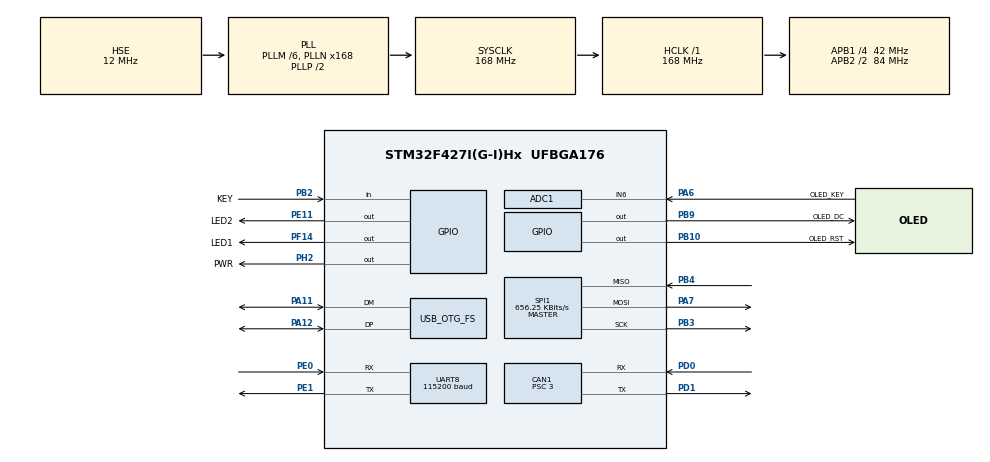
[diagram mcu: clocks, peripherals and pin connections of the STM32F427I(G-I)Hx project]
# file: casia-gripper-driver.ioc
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ADC1.Channel-0\#ChannelRegularConversion=ADC_CHANNEL_6
ADC1.ContinuousConvMode=ENABLE
ADC1.DMAContinuousRequests=ENABLE
ADC1.NbrOfConversionFlag=1
ADC1.Rank-0\#ChannelRegularConversion=1
ADC1.SamplingTime-0\#ChannelRegularConversion=ADC_SAMPLETIME_3CYCLES
ADC1.ScanConvMode=ENABLE
ADC1.master=1
CAN1.ABOM=ENABLE
CAN1.BS1=CAN_BS1_9TQ
CAN1.BS2=CAN_BS2_4TQ
CAN1.CalculateTimeBit=1000
CAN1.CalculateTimeQuantum=71.42857142857143
CAN1.Prescaler=3
CAN1.SJW=CAN_SJW_1TQ
Dma.ADC1.0.Direction=DMA_PERIPH_TO_MEMORY
Dma.ADC1.0.FIFOMode=DMA_FIFOMODE_DISABLE
Dma.ADC1.0.Instance=DMA2_Stream0
Dma.ADC1.0.MemDataAlignment=DMA_MDATAALIGN_HALFWORD
Dma.ADC1.0.MemInc=DMA_MINC_ENABLE
Dma.ADC1.0.Mode=DMA_CIRCULAR
Dma.ADC1.0.PeriphDataAlignment=DMA_PDATAALIGN_HALFWORD
Dma.ADC1.0.PeriphInc=DMA_PINC_DISABLE
Dma.ADC1.0.Priority=DMA_PRIORITY_LOW
Dma.Request0=ADC1
Mcu.Family=STM32F4
Mcu.Name=STM32F427I(G-I)Hx
Mcu.Package=UFBGA176
NVIC.CAN1_RX0_IRQn=true\:0\:0\:false\:false\:true\:true\:true
NVIC.CAN1_TX_IRQn=true\:0\:0\:false\:false\:true\:true\:true
NVIC.DMA2_Stream0_IRQn=true\:0\:0\:false\:false\:true\:false\:true
NVIC.OTG_FS_IRQn=true\:0\:0\:false\:false\:true\:false\:true
NVIC.PriorityGroup=NVIC_PRIORITYGROUP_4
NVIC.TIM1_UP_TIM10_IRQn=true\:0\:0\:true\:false\:true\:true\:true
NVIC.TIM6_DAC_IRQn=true\:0\:0\:false\:false\:true\:true\:true
NVIC.TimeBase=TIM6_DAC_IRQn
NVIC.TimeBaseIP=TIM6
NVIC.UART8_IRQn=true\:0\:0\:true\:false\:true\:true\:true
PA11.GPIO_PuPd=GPIO_PULLUP
PA11.Mode=Device_Only
PA11.Signal=USB_OTG_FS_DM
PA12.GPIO_PuPd=GPIO_PULLUP
PA12.Mode=Device_Only
PA12.Signal=USB_OTG_FS_DP
PA13.Mode=Serial_Wire
PA13.Signal=SYS_JTMS-SWDIO
PA14.Mode=Serial_Wire
PA14.Signal=SYS_JTCK-SWCLK
PA6.GPIO_Label=OLED_KEY
PA6.Signal=ADCx_IN6
PA7.Mode=Full_Duplex_Master
PA7.Signal=SPI1_MOSI
PB10.GPIO_Label=OLED_RST
PB10.Signal=GPIO_Output
PB2/BOOT1.GPIO_Label=KEY
PB2/BOOT1.GPIO_PuPd=GPIO_NOPULL
PB2/BOOT1.Signal=GPIO_Input
PB3.Mode=Full_Duplex_Master
PB3.Signal=SPI1_SCK
PB4.Mode=Full_Duplex_Master
PB4.Signal=SPI1_MISO
PB9.GPIO_Label=OLED_DC
PB9.Signal=GPIO_Output
PD0.Mode=Master
PD0.Signal=CAN1_RX
PD1.Mode=Master
PD1.Signal=CAN1_TX
PE0.Mode=Asynchronous
PE0.Signal=UART8_RX
PE1.Mode=Asynchronous
PE1.Signal=UART8_TX
PE11.GPIO_Label=LED2
PE11.Signal=GPIO_Output
PE7.GPIO_Label=UART7_RX
PE7.Signal=UART7_RX
PE8.GPIO_Label=UART7_TX
PE8.Signal=UART7_TX
PF14.GPIO_Label=LED1
PF14.Signal=GPIO_Output
PH0/OSC_IN.Mode=HSE-External-Oscillator
PH0/OSC_IN.Signal=RCC_OSC_IN
PH1/OSC_OUT.Mode=HSE-External-Oscillator
PH1/OSC_OUT.Signal=RCC_OSC_OUT
PH2.GPIO_Label=PWR
PH2.Signal=GPIO_Output
ProjectManager.HeapSize=0x600
ProjectManager.StackSize=0x400
ProjectManager.TargetToolchain=STM32CubeIDE
RCC.48MHZClocksFreq_Value=48000000
RCC.AHBFreq_Value=168000000
RCC.APB1CLKDivider=RCC_HCLK_DIV4
RCC.APB1Freq_Value=42000000
RCC.APB1TimFreq_Value=84000000
RCC.APB2CLKDivider=RCC_HCLK_DIV2
RCC.APB2Freq_Value=84000000
RCC.APB2TimCLKDivider=2
RCC.APB2TimFreq_Value=168000000
RCC.CortexFreq_Value=168000000
RCC.HCLKFreq_Value=168000000
RCC.HSE_VALUE=12000000
RCC.HSI_VALUE=16000000
RCC.LSE_VALUE=32768
RCC.PLLM=6
RCC.PLLN=168
RCC.PLLQ=7
RCC.SYSCLKFreq_VALUE=168000000
RCC.SYSCLKSource=RCC_SYSCLKSOURCE_PLLCLK
RCC.VCOOutputFreq_Value=336000000
SH.ADCx_IN6.0=ADC1_IN6,IN6
SPI1.BaudRatePrescaler=SPI_BAUDRATEPRESCALER_128
SPI1.CalculateBaudRate=656.25 KBits/s
SPI1.Direction=SPI_DIRECTION_2LINES
SPI1.Mode=SPI_MODE_MASTER
SPI1.VirtualType=VM_MASTER
TIM10.Period=999
TIM10.Prescaler=8400-1
UART8.BaudRate=115200
UART8.OverSampling=UART_OVERSAMPLING_8
UART8.Parity=PARITY_NONE
UART8.VirtualMode=Asynchronous
USB_DEVICE.CLASS_NAME_FS=CDC
USB_DEVICE.VirtualMode-CDC_FS=Cdc
USB_DEVICE.VirtualModeFS=Cdc_FS
USB_OTG_FS.VirtualMode=Device_Only
VP_SYS_VS_tim6.Mode=TIM6
VP_TIM10_VS_ClockSourceINT.Mode=Enable_Timer
VP_USB_DEVICE_VS_USB_DEVICE_CDC_FS.Mode=CDC_FS
board=demo

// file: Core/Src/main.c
/* USER CODE BEGIN Header */
/**
 ******************************************************************************
 * @file           : main.c
 * @brief          : Main program body
 ******************************************************************************
 * @attention
 *
 * <h2><center>&copy; Copyright (c) 2019 STMicroelectronics.
 * All rights reserved.</center></h2>
 *
 * This software component is licensed by ST under BSD 3-Clause license,
 * the "License"; You may not use this file except in compliance with the
 * License. You may obtain a copy of the License at:
 *                        opensource.org/licenses/BSD-3-Clause
 *
 ******************************************************************************
 */
/* USER CODE END Header */

#include "main.h"
#include "adc.h"
#include "can.h"
#include "dma.h"
#include "spi.h"
#include "tim.h"
#include "usart.h"
#include "usb_device.h"
#include "gpio.h"

/* USER CODE BEGIN Includes */
#include "stdio.h"
#include "stdlib.h"

#include "oled.h"
#include "bsp_can.h"
#include "bsp_pid.h"
#include "usbd_cdc_if.h"
//#include "remote_control.h"
/* USER CODE END Includes */

/* USER CODE BEGIN PD */
#define ADC_BUF_SIZE    50
#define UART_BUF_SIZE   50
#define VALUE_STEP      200

/* USER CODE END PD */

/* USER CODE BEGIN PV */

static int isKeyProcessed = 1;
int step_sign = +1;

uint8_t motor_id_sel = 3;
uint16_t motor_angles[4];

char message[50];
float pid_value = 0.9;
uint8_t recv_val[50] = {0};

uint16_t TIM_COUNT[2];
uint16_t ADC_Value[ADC_BUF_SIZE];

uint8_t uart_flag = 1;
uint8_t UART_Value1[UART_BUF_SIZE] = {0};
uint8_t UART_Value2[UART_BUF_SIZE];

//-------------------------------------------------------------------------------------------
//the following is MCU code for CRC check,please refer.
//-------------------------------------------------------------------------------------------
uint16_t CRC_CHECK(uint8_t *Buf, uint8_t CRC_CNT)
{
    uint16_t CRC_Temp;
    uint8_t i,j;
    CRC_Temp = 0xffff;

    for (i=0;i<CRC_CNT; i++){
        CRC_Temp ^= Buf[i];
        for (j=0;j<8;j++) {
            if (CRC_Temp & 0x01)
                CRC_Temp = (CRC_Temp >>1 ) ^ 0xa001;
            else
                CRC_Temp = CRC_Temp >> 1;
        }
    }
    return(CRC_Temp);
}

void SP_Send(uint16_t value)
{
//    Ch1Data_L, Ch1Data_H,
    UART_Value2[0] = (value & 0x00FF);
    UART_Value2[1] = (value & 0xFF00) >> 8;

    HAL_UART_Transmit(&huart8, (uint8_t *)&UART_Value2, 2, 100);
}

void SP_Transmit(uint16_t ch1, uint16_t ch2, uint16_t ch3, uint16_t ch4)
{
//    Ch1Data_L, Ch1Data_H,
//    Ch2Data_L, Ch2Data_H,
//    Ch3Data_L, Ch3Data_H,
//    Ch4Data_L, Ch4Data_H,
//    ChkSum
    uint16_t crc = 0;

    UART_Value2[0] = ch1 & 0x00FF;  UART_Value2[1] = (ch1 & 0xFF00) >> 8;
    UART_Value2[2] = ch2 & 0x00FF;  UART_Value2[3] = (ch2 & 0xFF00) >> 8;
    UART_Value2[4] = ch3 & 0x00FF;  UART_Value2[5] = (ch3 & 0xFF00) >> 8;
    UART_Value2[6] = ch4 & 0x00FF;  UART_Value2[7] = (ch4 & 0xFF00) >> 8;
    crc = CRC_CHECK(UART_Value2, 8);
    UART_Value2[8] = crc & 0x00FF;  UART_Value2[9] = (crc & 0xFF00) >> 8;

    HAL_UART_Transmit_IT(&huart8, UART_Value2, 10);
}

void SP_Init(uint32_t ch1_addr, uint32_t ch2_addr, uint32_t ch3_addr, uint32_t ch4_addr)
{
    //    Ch1_Addr_LL, Ch1_Addr_LH,
    //    Ch1_Addr_HL, Ch1_Addr_HH,
    //    Ch2_Addr_LL, Ch2_Addr_LH,
    //    Ch2_Addr_HL, Ch2_Addr_HH,
    //    Ch3_Addr_LL, Ch3_Addr_LH,
    //    Ch3_Addr_HL, Ch3_Addr_HH,
    //    Ch4_Addr_LL, Ch4_Addr_LH,
    //    Ch4_Addr_HL, Ch4_Addr_HH,
    //    CRC16_L, CRC16_H
    uint16_t crc = 0;

    UART_Value2[0] = ch1_addr & 0x000000FF;   UART_Value2[1] = (ch1_addr & 0x0000FF00) >> 8;  UART_Value2[2] = (ch1_addr & 0x00FF0000) >> 16;   UART_Value2[3] = (ch1_addr & 0xFF000000) >> 24;
    UART_Value2[4] = ch2_addr & 0x000000FF;   UART_Value2[5] = (ch2_addr & 0x0000FF00) >> 8;  UART_Value2[6] = (ch2_addr & 0x00FF0000) >> 16;   UART_Value2[7] = (ch2_addr & 0xFF000000) >> 24;
    UART_Value2[8] = ch3_addr & 0x000000FF;   UART_Value2[9] = (ch3_addr & 0x0000FF00) >> 8;  UART_Value2[10] = (ch3_addr & 0x00FF0000) >> 16;  UART_Value2[11] = (ch3_addr & 0xFF000000) >> 24;
    UART_Value2[12] = ch4_addr & 0x000000FF;  UART_Value2[13] = (ch4_addr & 0x0000FF00) >> 8; UART_Value2[14] = (ch4_addr & 0x00FF0000) >> 16;  UART_Value2[15] = (ch4_addr & 0xFF000000) >> 24;

    crc = CRC_CHECK((uint8_t *)&UART_Value1, 16);
    UART_Value2[16] = crc & 0xFF;
    UART_Value2[17] = crc >> 8;

    HAL_UART_Transmit(&huart8, (uint8_t *)&UART_Value2, 18, 100);
}
//-------------------------------------------------------------------------------------------
//The above is MCU code for CRC check,please refer.
//-------------------------------------------------------------------------------------------

/* USER CODE END PV */

void SystemClock_Config(void);

/* USER CODE BEGIN 0 */

/**
 * @brief  Determine the button status via ADC voltage value
 * @note   2.5V idle(0)
 *         1.8V UP(1)   2.2V DOWN(2)
 *         0.7V LEFT(3) 1.3V RIGHT(4)
 * @param  None
 * @retval None
 */
uint8_t OLED_Key_Scan()
{
    uint32_t ad_ch6 = 0;
    float value = 0;

    for (int i = 0; i < ADC_BUF_SIZE; i++)
    {
        ad_ch6 += ADC_Value[i];
    }
    ad_ch6 = (ad_ch6 / ADC_BUF_SIZE);
    value = ad_ch6 * 3.3f / 4096;

    if (value>2.4 && value<2.6) // idle
    {
        return 0;
    }
    else if (value>2.1 && value<2.3) // down
    {
        return 2;
    }
    else if (value>1.2 && value<1.4) // up
    {
        return 1;
    }
    else if (value>0.6 && value<0.8) // right
    {
        return 4;
    }
    else if (ABS(value-0.7) < 0.1) // right
    {
        return 3;
    }

    return 255;
}

void Key_Scan()
{
    if (HAL_GPIO_ReadPin(KEY_GPIO_Port, KEY_Pin) == GPIO_PIN_RESET) // button pressed
    {
        if (isKeyProcessed == 0)
        {
            isKeyProcessed = 1;

            for (int i = 0; i < PID_COUNT; i++)
            {
                pid_setval_speed[i] += VALUE_STEP * step_sign;

                if (pid_setval_speed[i] > 3000)
                {
                    pid_setval_speed[i] = 3000;
                    step_sign = -1;
                }
                if (pid_setval_speed[i] < -3000)
                {
                    pid_setval_speed[i] = -3000;
                    step_sign = 1;
                }
            }
        }
    }
    else
    {
        isKeyProcessed = 0;
    }

    uint8_t oled_key = OLED_Key_Scan();
    switch (oled_key)
    {
    case 1:
        motor_id_sel += 1;
        if (motor_id_sel >= 4)
            motor_id_sel = 0;
        break;
    case 2:
        if (motor_id_sel == 0)
            motor_id_sel = 3;
        else
            motor_id_sel -= 1;
        break;
    }
}
/* USER CODE END 0 */

int main(void)
{

  /* MCU Configuration--------------------------------------------------------*/

  /* Reset of all peripherals, Initializes the Flash interface and the Systick. */
  HAL_Init();

  /* Configure the system clock */
  SystemClock_Config();

  /* Initialize all configured peripherals */
  MX_GPIO_Init();
  MX_DMA_Init();
  MX_CAN1_Init();
  MX_ADC1_Init();
  MX_SPI1_Init();
  MX_TIM10_Init();
  MX_USB_DEVICE_Init();
  MX_UART8_Init();
  /* USER CODE BEGIN 2 */
    // Power on the motor output 24V (PH2)
    HAL_GPIO_WritePin(PWR_GPIO_Port, PWR_Pin, GPIO_PIN_SET);
    // start OLED update timer
    HAL_TIM_Base_Start_IT(&htim10);

    // start ADC DMA conversion
    HAL_ADC_Start_DMA(&hadc1, (uint32_t*) &ADC_Value, ADC_BUF_SIZE);

    HAL_UART_Receive_IT(&huart8, UART_Value1, 6);

    // Config & Start CAN1
    BSP_CAN1_Init();

    // OLED init
    led_off();
    oled_init();
    oled_clear(Pen_Clear);
    oled_refresh_gram();

    // PID init
    BSP_PID_Init_speed();
    BSP_PID_Init_angle();
    Key_Scan();

    // initialization for serial scope
    SP_Init(0x00000000, 0x00000001, 0x00000002, 0x00000003);

  /* USER CODE END 2 */

  /* Infinite loop */
  /* USER CODE BEGIN WHILE */
   // int a=0;

    while(1){//if(a<1)
    	{//a=a+1;
       //Key_Scan();

        BSP_PID_StepOnce();

        CAN1_set_motor_current(&hcan1,
                (int16_t) speed_pid[0]->output,
                (int16_t) speed_pid[1]->output,
                (int16_t) speed_pid[2]->output,
                (int16_t) speed_pid[3]->output);

        HAL_Delay(2);  }    //PID control frequency 100Hz

//        if(uart_flag == 0)
//        {
//            HAL_UART_Transmit_IT(&huart8, (uint8_t*)&UART_Value1, UART_BUF_SIZE);
//            uart_flag = 1;
//        }
//        HAL_UART_Transmit(&huart8, (uint8_t *)"Hello, World!\n", sizeof("Hello, World!\n"), 10);

    /* USER CODE END WHILE */

    }
}

void SystemClock_Config(void)
{
  RCC_OscInitTypeDef RCC_OscInitStruct = {0};
  RCC_ClkInitTypeDef RCC_ClkInitStruct = {0};

  /** Configure the main internal regulator output voltage
  */
  __HAL_RCC_PWR_CLK_ENABLE();
  __HAL_PWR_VOLTAGESCALING_CONFIG(PWR_REGULATOR_VOLTAGE_SCALE1);
  /** Initializes the CPU, AHB and APB busses clocks
  */
  RCC_OscInitStruct.OscillatorType = RCC_OSCILLATORTYPE_HSE;
  RCC_OscInitStruct.HSEState = RCC_HSE_ON;
  RCC_OscInitStruct.PLL.PLLState = RCC_PLL_ON;
  RCC_OscInitStruct.PLL.PLLSource = RCC_PLLSOURCE_HSE;
  RCC_OscInitStruct.PLL.PLLM = 6;
  RCC_OscInitStruct.PLL.PLLN = 168;
  RCC_OscInitStruct.PLL.PLLP = RCC_PLLP_DIV2;
  RCC_OscInitStruct.PLL.PLLQ = 7;
  if (HAL_RCC_OscConfig(&RCC_OscInitStruct) != HAL_OK)
  {
    Error_Handler();
  }
  /** Initializes the CPU, AHB and APB busses clocks
  */
  RCC_ClkInitStruct.ClockType = RCC_CLOCKTYPE_HCLK|RCC_CLOCKTYPE_SYSCLK
                              |RCC_CLOCKTYPE_PCLK1|RCC_CLOCKTYPE_PCLK2;
  RCC_ClkInitStruct.SYSCLKSource = RCC_SYSCLKSOURCE_PLLCLK;
  RCC_ClkInitStruct.AHBCLKDivider = RCC_SYSCLK_DIV1;
  RCC_ClkInitStruct.APB1CLKDivider = RCC_HCLK_DIV4;
  RCC_ClkInitStruct.APB2CLKDivider = RCC_HCLK_DIV2;

  if (HAL_RCC_ClockConfig(&RCC_ClkInitStruct, FLASH_LATENCY_5) != HAL_OK)
  {
    Error_Handler();
  }
}

/* USER CODE BEGIN 4 */
void HAL_UART_RxCpltCallback(UART_HandleTypeDef *huart)
{
    uint8_t i = 0;
    while(UART_Value1[i] != 'f')
    {
        recv_val[i] = UART_Value1[i];
        i++;
    }
    recv_val[i] = '\0';

    pid_value = atof((const char *)recv_val);

    speed_pid[motor_id_sel]->Kp = pid_value;

//    HAL_UART_Transmit_IT(&huart8, UART_Value1, 4);
    HAL_UART_Receive_IT(&huart8, UART_Value1, 6);
}

/* USER CODE END 4 */

void HAL_TIM_PeriodElapsedCallback(TIM_HandleTypeDef *htim)
{
  /* USER CODE BEGIN Callback 0 */
    static uint8_t tim_div = 0;
  /* USER CODE END Callback 0 */
  if (htim->Instance == TIM6) {
    HAL_IncTick();
  }
  /* USER CODE BEGIN Callback 1 */

    if (htim->Instance == TIM10)
    {
        if(tim_div == 9)
        {
            tim_div = 0;
            for(int i = 0; i<4; i++)
            {
                motor_angles[i] = motor_status[i].angle;
//                motor_angles[i] = motor_status[i].speed_rpm;
            }
            SP_Transmit(motor_angles[0],
                        motor_angles[1],
                        motor_angles[2],
                        motor_angles[3]);
        }
        else
        {
            tim_div++;
        }
//        uint32_t ad_ch6 = 0;
//
//        for(int i=0; i<ADC_BUF_SIZE; i++)
//        {
//            ad_ch6 += ADC_Value[i];
//        }
//        ad_ch6 = (ad_ch6 / ADC_BUF_SIZE);

        oled_clear(Pen_Clear);
        sprintf(message, "%d, kp=%f", motor_id_sel, pid_value);
        oled_showstring1(0, 2, message);
        sprintf(message, "%.3f", pid_setval_speed[motor_id_sel]);
        oled_showstring1(1, 2, message);
        sprintf(message, "%d", motor_status[motor_id_sel].angle);
        oled_showstring1(2, 2, message);
        sprintf(message, "%d", motor_status[motor_id_sel].speed_rpm);
        oled_showstring1(3, 2, message);
        sprintf(message, "%d", motor_status[motor_id_sel].torque);
        oled_showstring1(4, 2, message);
        oled_refresh_gram();
    }
  /* USER CODE END Callback 1 */
}

void Error_Handler(void)
{
}

/************************ (C) COPYRIGHT STMicroelectronics *****END OF FILE****/
